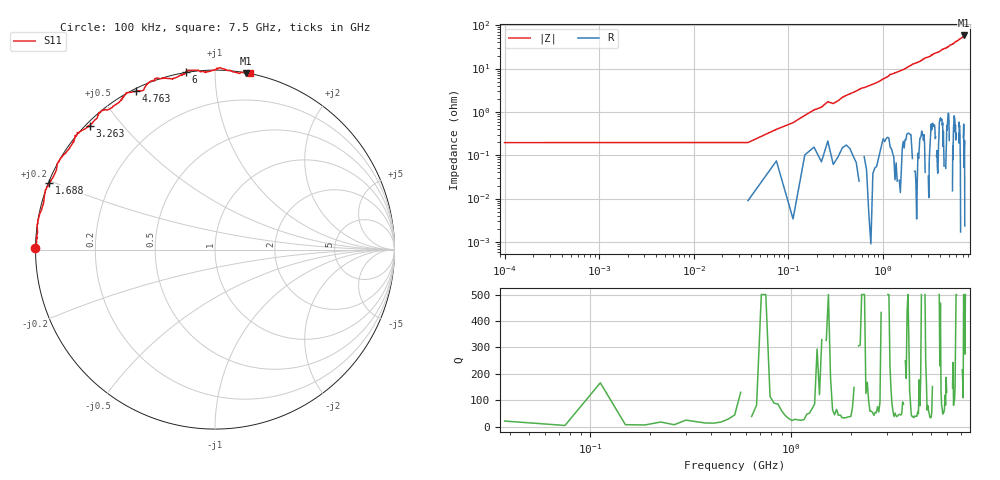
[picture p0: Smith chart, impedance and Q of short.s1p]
# Hz S RI R 50.000000
! FREQ  re:S1  1  im:S1  1
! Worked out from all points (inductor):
!   201 points, 100 kHz to 7.5 GHz, reference 50 ohm
!   read as one part to ground: L = 824 pH near 37.6 MHz
!   highest Q = 519 at 7.313 GHz (marker M1), where L = 1.3 nH
!   S11 on the Smith chart (normalised r, x): 100 kHz: -0.00, +0.00; 1.688 GHz: 0.00, +0.19; 3.263 GHz: 0.01, +0.41; 4.763 GHz: 0.01, +0.62; 6 GHz: -0.00, +0.85; 7.5 GHz: -0.00, +1.22
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100000  -1.003 0.00718
9.375875e8  -0.974 0.2043
1.200084e9  -0.9519 0.2863
1.687578e9  -0.9226 0.3709
1.875075e9  -0.8945 0.4188
2.100072e9  -0.8785 0.4806
2.625065e9  -0.8101 0.5683
2.850062e9  -0.7788 0.6368
3.150058e9  -0.7414 0.664
3.262556e9  -0.6984 0.6907
3.300056e9  -0.7106 0.6847
3.525053e9  -0.6561 0.7325
3.75005e9  -0.6383 0.7644
4.012546e9  -0.5911 0.7811
4.275043e9  -0.5208 0.8362
4.687538e9  -0.4752 0.8758
4.762536e9  -0.4378 0.8835
4.800036e9  -0.4508 0.8804
4.950034e9  -0.4058 0.8852
5.137532e9  -0.3592 0.938
5.28753e9  -0.3361 0.951
5.625025e9  -0.2612 0.9533
6.00002e9  -0.1624 0.9901
6.187518e9  -0.1362 0.9989
6.600012e9  -0.0199 0.9967
6.975007e9  0.0455 1.007
7.312502e9  0.1731 0.9822
7.5e9  0.1972 0.9826
